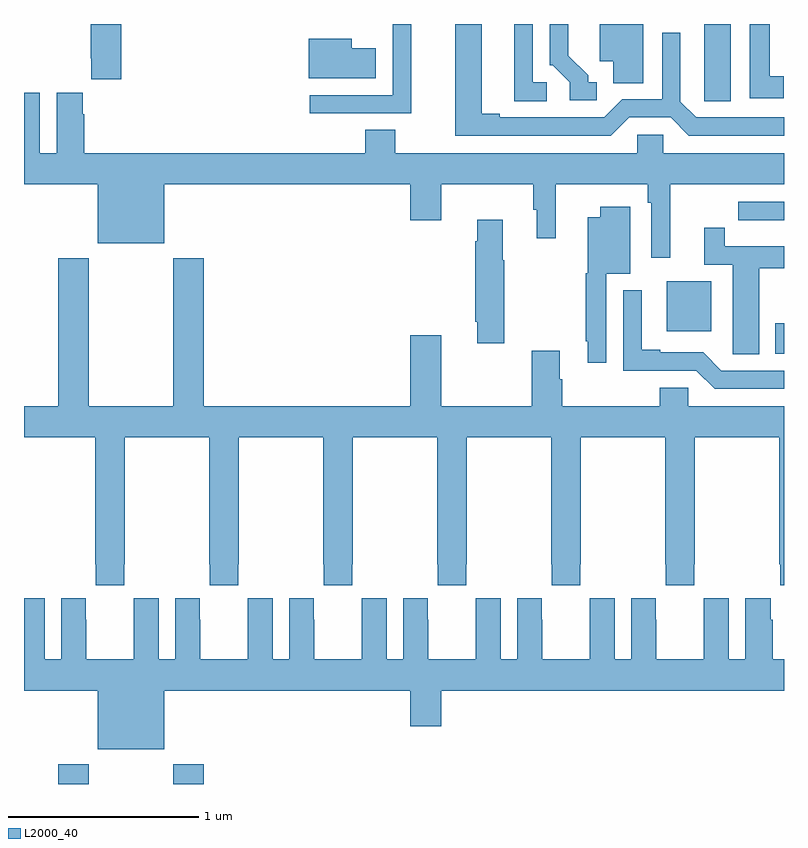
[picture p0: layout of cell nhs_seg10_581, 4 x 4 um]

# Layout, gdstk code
import gdstk
lib = gdstk.Library(unit=1e-6, precision=1e-09)
def R(c, l, rs):  # rectangles x0, y0, x1, y1
    for r in rs: c.add(gdstk.rectangle(r[:2], r[2:], *l))
def P(c, l, *ps):  # polygons
    for p in ps: c.add(gdstk.Polygon(p, *l))
L2000_40 = (2000, 40)

nhs_seg10_581 = lib.new_cell('nhs_seg10_581')
R(nhs_seg10_581, L2000_40, [(139.181,1290.5,139.341,1290.604), (139.786,1290.5,139.946,1290.604), (142.955,1292.765,143,1292.925), (142.382,1292.882,142.618,1293.145)])
P(nhs_seg10_581, L2000_40, [(139.511,1294.5),(139.351,1294.5),(139.351,1294.321),(139.355,1294.321),(139.355,1294.209),(139.511,1294.209)],
  [(142.185,1294.008),(142.403,1294.008),(142.499,1293.912),(143,1293.912),(143,1294.008),(142.539,1294.008),(142.455,1294.092),(142.455,1294.453),(142.359,1294.453),(142.359,1294.104),(142.149,1294.104),(142.053,1294.008),(141.505,1294.008),(141.505,1294.028),(141.409,1294.028),(141.409,1294.5),(141.269,1294.5),(141.269,1293.912),(142.089,1293.912)],
  [(141.039,1294.5),(140.94,1294.5),(140.94,1294.125),(140.505,1294.125),(140.505,1294.029),(141.039,1294.029)],
  [(141.751,1294.194),(141.678,1294.194),(141.678,1294.5),(141.581,1294.5),(141.581,1294.093),(141.751,1294.093)],
  [(142.258,1294.5),(142.031,1294.5),(142.031,1294.304),(142.1,1294.304),(142.1,1294.189),(142.258,1294.189)],
  [(142.72,1294.5),(142.58,1294.5),(142.58,1294.201),(142.581,1294.201),(142.581,1294.093),(142.72,1294.093)],
  [(142.015,1294.194),(141.97,1294.194),(141.97,1294.229),(141.865,1294.334),(141.865,1294.5),(141.768,1294.5),(141.768,1294.284),(141.783,1294.284),(141.873,1294.194),(141.873,1294.098),(142.015,1294.098)],
  [(142.999,1294.226),(142.924,1294.226),(142.924,1294.5),(142.82,1294.5),(142.82,1294.11),(142.999,1294.11)],
  [(140.851,1294.372),(140.725,1294.372),(140.725,1294.423),(140.498,1294.423),(140.498,1294.214),(140.851,1294.214)],
  [(142.4,1293.656),(143,1293.656),(143,1293.82),(142.365,1293.82),(142.365,1293.918),(142.227,1293.918),(142.227,1293.82),(140.955,1293.82),(140.955,1293.944),(140.795,1293.944),(140.795,1293.82),(139.316,1293.82),(139.316,1294.025),(139.309,1294.025),(139.309,1294.138),(139.172,1294.138),(139.172,1293.82),(139.084,1293.82),(139.084,1294.138),(139,1294.138),(139,1293.656),(139.388,1293.656),(139.388,1293.347),(139.738,1293.347),(139.738,1293.656),(141.032,1293.656),(141.032,1293.468),(141.196,1293.468),(141.196,1293.656),(141.679,1293.656),(141.679,1293.522),(141.698,1293.522),(141.698,1293.372),(141.798,1293.372),(141.798,1293.656),(142.282,1293.656),(142.282,1293.56),(142.302,1293.56),(142.302,1293.27),(142.4,1293.27)],
  [(143,1293.564),(142.758,1293.564),(142.758,1293.468),(142.87,1293.468),(142.87,1293.467),(143,1293.467)],
  [(142.065,1293.185),(142.192,1293.185),(142.192,1293.538),(142.034,1293.538),(142.034,1293.484),(141.968,1293.484),(141.968,1293.189),(141.957,1293.189),(141.957,1292.83),(141.968,1292.83),(141.968,1292.718),(142.065,1292.718)],
  [(141.528,1293.256),(141.52,1293.256),(141.52,1293.469),(141.386,1293.469),(141.386,1293.356),(141.374,1293.356),(141.374,1292.932),(141.386,1292.932),(141.386,1292.82),(141.528,1292.82)],
  [(142.87,1293.214),(143,1293.214),(143,1293.33),(142.688,1293.33),(142.688,1293.427),(142.58,1293.427),(142.58,1293.234),(142.73,1293.234),(142.73,1292.872),(142.731,1292.872),(142.731,1292.761),(142.87,1292.761)],
  [(139.527,1291.657),(139.53,1291.657),(139.53,1292.324),(139.975,1292.324),(139.975,1291.657),(139.977,1291.657),(139.977,1291.545),(140.127,1291.545),(140.127,1291.657),(140.13,1291.657),(140.13,1292.324),(140.575,1292.324),(140.575,1291.657),(140.577,1291.657),(140.577,1291.545),(140.727,1291.545),(140.727,1291.657),(140.73,1291.657),(140.73,1292.324),(141.175,1292.324),(141.175,1291.657),(141.177,1291.657),(141.177,1291.545),(141.327,1291.545),(141.327,1291.657),(141.33,1291.657),(141.33,1292.324),(141.775,1292.324),(141.775,1291.657),(141.777,1291.657),(141.777,1291.545),(141.927,1291.545),(141.927,1291.657),(141.93,1291.657),(141.93,1292.324),(142.375,1292.324),(142.375,1291.657),(142.377,1291.657),(142.377,1291.545),(142.527,1291.545),(142.527,1291.657),(142.53,1291.657),(142.53,1292.324),(142.975,1292.324),(142.975,1291.657),(142.981,1291.657),(142.981,1291.545),(143,1291.545),(143,1292.488),(142.497,1292.488),(142.497,1292.586),(142.346,1292.586),(142.346,1292.488),(141.833,1292.488),(141.833,1292.63),(141.82,1292.63),(141.82,1292.779),(141.673,1292.779),(141.673,1292.488),(141.196,1292.488),(141.196,1292.863),(141.032,1292.863),(141.032,1292.488),(139.946,1292.488),(139.946,1293.268),(139.786,1293.268),(139.786,1292.488),(139.341,1292.488),(139.341,1293.268),(139.181,1293.268),(139.181,1292.488),(139,1292.488),(139,1292.324),(139.375,1292.324),(139.375,1291.657),(139.377,1291.657),(139.377,1291.545),(139.527,1291.545)],
  [(143,1292.676),(142.671,1292.676),(142.575,1292.772),(142.348,1292.772),(142.348,1292.785),(142.252,1292.785),(142.252,1293.1),(142.155,1293.1),(142.155,1292.676),(142.539,1292.676),(142.635,1292.58),(143,1292.58)],
  [(139.738,1290.992),(141.032,1290.992),(141.032,1290.804),(141.196,1290.804),(141.196,1290.992),(143,1290.992),(143,1291.156),(142.94,1291.156),(142.94,1291.364),(142.93,1291.364),(142.93,1291.477),(142.796,1291.477),(142.796,1291.156),(142.708,1291.156),(142.708,1291.477),(142.578,1291.477),(142.578,1291.364),(142.577,1291.364),(142.577,1291.156),(142.327,1291.156),(142.327,1291.364),(142.326,1291.364),(142.326,1291.477),(142.196,1291.477),(142.196,1291.156),(142.108,1291.156),(142.108,1291.477),(141.978,1291.477),(141.978,1291.364),(141.977,1291.364),(141.977,1291.156),(141.727,1291.156),(141.727,1291.364),(141.726,1291.364),(141.726,1291.477),(141.596,1291.477),(141.596,1291.156),(141.508,1291.156),(141.508,1291.477),(141.378,1291.477),(141.378,1291.364),(141.377,1291.364),(141.377,1291.156),(141.127,1291.156),(141.127,1291.364),(141.126,1291.364),(141.126,1291.477),(140.996,1291.477),(140.996,1291.156),(140.908,1291.156),(140.908,1291.477),(140.778,1291.477),(140.778,1291.364),(140.777,1291.364),(140.777,1291.156),(140.527,1291.156),(140.527,1291.364),(140.526,1291.364),(140.526,1291.477),(140.396,1291.477),(140.396,1291.156),(140.308,1291.156),(140.308,1291.477),(140.178,1291.477),(140.178,1291.364),(140.177,1291.364),(140.177,1291.156),(139.927,1291.156),(139.927,1291.364),(139.926,1291.364),(139.926,1291.477),(139.796,1291.477),(139.796,1291.156),(139.708,1291.156),(139.708,1291.477),(139.578,1291.477),(139.578,1291.364),(139.577,1291.364),(139.577,1291.156),(139.327,1291.156),(139.327,1291.364),(139.326,1291.364),(139.326,1291.477),(139.196,1291.477),(139.196,1291.156),(139.108,1291.156),(139.108,1291.477),(139,1291.477),(139,1290.992),(139.388,1290.992),(139.388,1290.683),(139.738,1290.683)])

lib.write_gds('nhs_seg10_581.gds')
